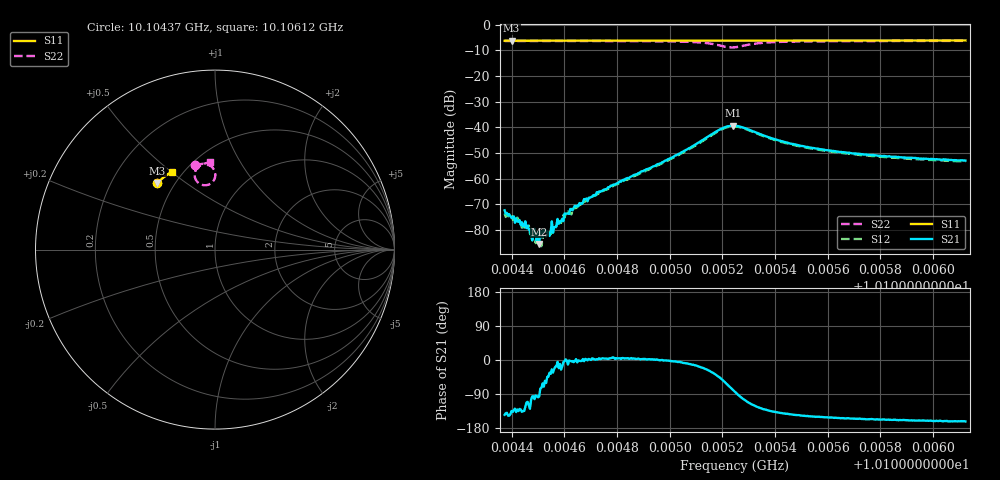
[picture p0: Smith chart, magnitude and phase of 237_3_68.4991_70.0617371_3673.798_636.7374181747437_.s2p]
#  HZ  S  RI  R  50.00
! Rohde & Schwarz Vector Network Analyzer
! Rohde-Schwarz,ZNB20-2Port,1311601062101988,3.16
! Created: UTC 3/20/2024, 5:14:18 PM
! freq[Hz]  re:S11  im:S11  re:S21  im:S21  re:S12  im:S12  re:S22  im:S22
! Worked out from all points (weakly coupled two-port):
!   401 points, 10.10437 GHz to 10.10612 GHz, reference 50 ohm
!   highest |S21| = -39.31 dB at 10.10524 GHz (marker M1); lowest = -85.4 dB at 10.1045 GHz (marker M2)
!   lowest |S11| = -6.2 dB at 10.1044 GHz (marker M3), VSWR 2.93, Z = 20.1 + j19.7 ohm
!   |S11| at or under -10 dB: nowhere
!   |S22| runs from -8.8 to -6.3 dB; largest |S21 - S12| = 0.0012
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1.0104373e10  -0.3231 0.3709  -0.000197 -0.00014  -0.000165 -0.00013  -0.1123 0.4709
1.0104399e10  -0.3217 0.3719  -0.000121 -0.000123  -0.000127 -0.000149  -0.1103 0.4714
1.0104425e10  -0.3205 0.3731  -0.000102 -0.000103  -9.78e-05 -0.000127  -0.1082 0.4718
1.0104447e10  -0.3196 0.3738  -8.52e-05 -8.65e-05  -6.02e-05 -9.38e-05  -0.1066 0.4722
1.0104473e10  -0.3185 0.3751  -1.97e-05 -7.47e-05  -3.6e-05 -9.94e-05  -0.1047 0.4726
1.0104504e10  -0.3172 0.3763  -5.76e-06 -5.31e-05  3.09e-05 -7.33e-05  -0.1021 0.4732
1.0104539e10  -0.3155 0.3778  6.36e-05 -6.16e-05  7.47e-05 -4.07e-05  -0.0992 0.4739
1.0104556e10  -0.3149 0.3785  7.37e-05 -4.83e-05  9.37e-05 -5.28e-05  -0.0977 0.4743
1.0104587e10  -0.3132 0.3797  0.000134 -6.4e-05  0.000136 -1.8e-05  -0.0952 0.4747
1.0104605e10  -0.3125 0.3805  0.000209 6.01e-06  0.000206 -1.28e-05  -0.0937 0.4749
1.0104626e10  -0.3115 0.3813  0.000256 -1.64e-05  0.000201 4.13e-06  -0.0917 0.4754
1.0104666e10  -0.3098 0.383  0.000322 -1.44e-05  0.000344 5.57e-05  -0.0883 0.4759
1.0104731e10  -0.3066 0.3855  0.000562 4.54e-05  0.000516 8.2e-05  -0.0818 0.4767
1.0104959e10  -0.296 0.3945  0.00195 -1.03e-05  0.00186 0.000165  -0.0518 0.4765
1.0105108e10  -0.2888 0.4001  0.00481 -0.00143  0.00466 -0.000892  -0.0138 0.4565
1.0105186e10  -0.2849 0.4027  0.00633 -0.00626  0.00666 -0.00538  -0.000292 0.4
1.0105239e10  -0.2825 0.4042  0.00218 -0.0106  0.00316 -0.01  -0.053 0.3584
1.0105248e10  -0.2822 0.4045  0.00105 -0.0107  0.00209 -0.0103  -0.0653 0.3592
1.0105361e10  -0.2772 0.4089  -0.00443 -0.00519  -0.00381 -0.00536  -0.1102 0.4356
1.0105541e10  -0.2683 0.4155  -0.00343 -0.00204  -0.00312 -0.00224  -0.0803 0.4703
1.0105834e10  -0.2536 0.4257  -0.00255 -0.00103  -0.00229 -0.00122  -0.0492 0.4817
1.0106123e10  -0.2387 0.435  -0.00215 -0.000689  -0.002 -0.000843  -0.026 0.4857
